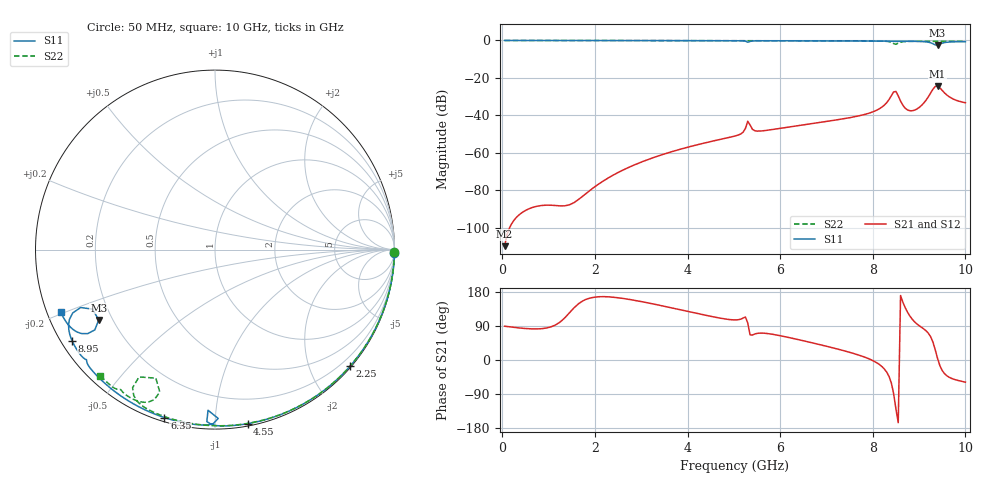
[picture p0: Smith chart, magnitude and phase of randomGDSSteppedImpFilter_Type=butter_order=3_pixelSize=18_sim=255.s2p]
! freq	dB(S11)	phase(S11)	dB(S12)	phase(S12)
!  dB(S21)	phase(S21)	dB(S22)	phase(S22)
!S-par simulation data
#  GHz  S  DB  R 50
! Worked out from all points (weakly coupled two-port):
!   200 points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, 50 MHz to 10 GHz, reference 50 ohm
!   highest |S21| = -24.37 dB at 9.4 GHz (marker M1); lowest = -109.9 dB at 50 MHz (marker M2)
!   lowest |S11| = -2.4 dB at 9.4 GHz (marker M3), VSWR 7.24, Z = 7.44 - j13.7 ohm
!   |S11| at or under -10 dB: nowhere
!   |S22| runs from -2.1 to 0.0 dB; largest |S21 - S12| = 0
!   S11 on the Smith chart (normalised r, x): 50 MHz: open; 2.25 GHz: 0.02, -2.70; 4.55 GHz: 0.02, -1.20; 6.35 GHz: 0.02, -0.74; 8.95 GHz: 0.03, -0.29; 10 GHz: 0.04, -0.19
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0.05  -0.00 -0.9  -109.85 89.2  -109.85 89.2  -0.00 -0.8
1.75  -0.04 -31.8  -82.88 156.7  -82.88 156.7  -0.03 -26.6
1.9  -0.04 -34.5  -79.93 163.7  -79.93 163.7  -0.04 -28.9
2.25  -0.05 -40.7  -73.97 166.9  -73.97 166.9  -0.04 -34.0
3.4  -0.08 -60.4  -61.41 144.3  -61.41 144.3  -0.07 -50.7
4.55  -0.12 -79.4  -53.70 114.1  -53.70 114.1  -0.10 -66.7
5.05  -0.15 -87.8  -50.85 105.8  -50.85 105.8  -0.11 -73.4
5.2  -0.22 -91.1  -48.99 110.6  -48.99 110.6  -0.12 -75.4
5.3  -0.95 -92.5  -43.15 97.7  -43.15 97.7  -0.12 -76.7
5.4  -0.27 -90.5  -47.39 65.8  -47.39 65.8  -0.12 -78.0
5.5  -0.19 -93.0  -48.40 70.2  -48.40 70.2  -0.13 -79.3
6.35  -0.20 -106.8  -45.62 55.0  -45.62 55.0  -0.17 -90.3
6.7  -0.22 -112.1  -44.34 45.1  -44.34 45.1  -0.18 -94.7
7.9  -0.31 -130.1  -38.99 4.0  -38.99 4.0  -0.27 -110.2
8.35  -0.38 -137.4  -31.61 -43.1  -31.61 -43.1  -0.63 -119.1
8.5  -0.51 -139.4  -27.23 -129.2  -27.23 -129.2  -2.07 -114.7
8.7  -0.43 -142.5  -36.16 138.2  -36.16 138.2  -0.57 -114.8
8.95  -0.50 -147.5  -36.64 95.5  -36.64 95.5  -0.44 -119.4
9.2  -0.92 -154.4  -30.10 70.7  -30.10 70.7  -0.48 -122.9
9.4  -2.42 -148.8  -24.37 3.5  -24.37 3.5  -0.48 -124.5
9.7  -0.78 -151.8  -30.82 -48.5  -30.82 -48.5  -0.41 -128.7
10  -0.66 -157.9  -33.23 -58.4  -33.23 -58.4  -0.45 -132.4
